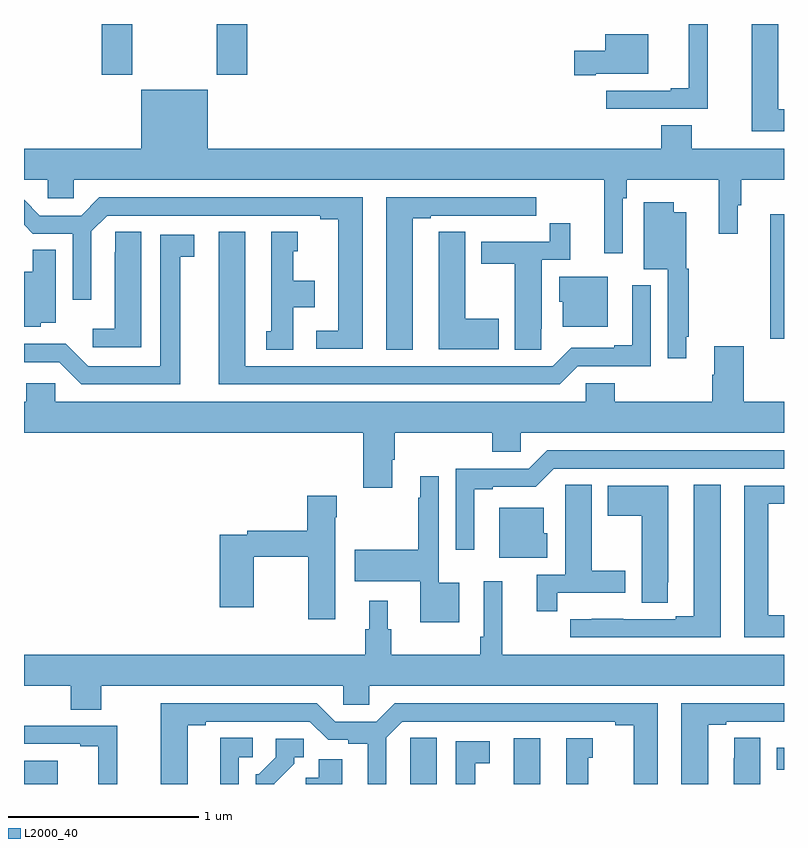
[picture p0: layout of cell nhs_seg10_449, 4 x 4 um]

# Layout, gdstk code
import gdstk
lib = gdstk.Library(unit=1e-6, precision=1e-09)
def R(c, l, rs):  # rectangles x0, y0, x1, y1
    for r in rs: c.add(gdstk.rectangle(r[:2], r[2:], *l))
def P(c, l, *ps):  # polygons
    for p in ps: c.add(gdstk.Polygon(p, *l))
L2000_40 = (2000, 40)

nhs_seg10_449 = lib.new_cell('nhs_seg10_449')
R(nhs_seg10_449, L2000_40, [(133,1266.5,133.177,1266.622), (135.578,1266.5,135.718,1266.742), (136.961,1266.574,137,1266.69), (133.409,1270.233,133.569,1270.5), (134.014,1270.233,134.174,1270.5)])
P(nhs_seg10_449, L2000_40, [(137,1270.052),(136.969,1270.052),(136.969,1270.5),(136.829,1270.5),(136.829,1269.936),(137,1269.936)],
  [(136.599,1270.5),(136.499,1270.5),(136.499,1270.162),(136.403,1270.162),(136.403,1270.149),(136.065,1270.149),(136.065,1270.053),(136.599,1270.053)],
  [(136.009,1270.238),(136.285,1270.238),(136.285,1270.447),(136.058,1270.447),(136.058,1270.36),(135.897,1270.36),(135.897,1270.231),(136.009,1270.231)],
  [(136.152,1269.584),(136.172,1269.584),(136.172,1269.68),(136.657,1269.68),(136.657,1269.396),(136.756,1269.396),(136.756,1269.546),(136.775,1269.546),(136.775,1269.68),(137,1269.68),(137,1269.844),(136.515,1269.844),(136.515,1269.968),(136.355,1269.968),(136.355,1269.844),(133.966,1269.844),(133.966,1270.153),(133.616,1270.153),(133.616,1269.844),(133,1269.844),(133,1269.68),(133.125,1269.68),(133.125,1269.582),(133.263,1269.582),(133.263,1269.68),(136.055,1269.68),(136.055,1269.294),(136.152,1269.294)],
  [(135.046,1269.477),(135.142,1269.477),(135.142,1269.492),(135.418,1269.492),(135.418,1269.491),(135.584,1269.491),(135.584,1269.492),(135.697,1269.492),(135.697,1269.588),(134.906,1269.588),(134.906,1268.785),(135.046,1268.785)],
  [(134.782,1269.588),(133.397,1269.588),(133.301,1269.492),(133.083,1269.492),(133,1269.575),(133,1269.443),(133.047,1269.396),(133.257,1269.396),(133.257,1269.048),(133.353,1269.048),(133.353,1269.408),(133.437,1269.492),(134.558,1269.492),(134.558,1269.472),(134.654,1269.472),(134.654,1268.886),(134.538,1268.886),(134.538,1268.79),(134.782,1268.79)],
  [(136.486,1268.854),(136.498,1268.854),(136.498,1269.213),(136.486,1269.213),(136.486,1269.508),(136.42,1269.508),(136.42,1269.562),(136.262,1269.562),(136.262,1269.209),(136.389,1269.209),(136.389,1268.742),(136.486,1268.742)],
  [(137,1269.499),(136.928,1269.499),(136.928,1269.15),(136.927,1269.15),(136.927,1268.844),(137,1268.844)],
  [(135.723,1268.896),(135.724,1268.896),(135.724,1269.258),(135.875,1269.258),(135.875,1269.451),(135.766,1269.451),(135.766,1269.354),(135.407,1269.354),(135.407,1269.238),(135.584,1269.238),(135.584,1268.785),(135.723,1268.785)],
  [(135.499,1268.949),(135.322,1268.949),(135.322,1269.407),(135.183,1269.407),(135.183,1269.299),(135.182,1269.299),(135.182,1268.789),(135.499,1268.789)],
  [(133.618,1269.407),(133.479,1269.407),(133.479,1269.299),(133.478,1269.299),(133.478,1268.896),(133.362,1268.896),(133.362,1268.799),(133.618,1268.799)],
  [(134.416,1269.008),(134.53,1269.008),(134.53,1269.148),(134.416,1269.148),(134.416,1269.303),(134.44,1269.303),(134.44,1269.406),(134.3,1269.406),(134.3,1268.883),(134.276,1268.883),(134.276,1268.785),(134.416,1268.785)],
  [(135.915,1268.7),(136.299,1268.7),(136.299,1269.124),(136.202,1269.124),(136.202,1268.809),(136.106,1268.809),(136.106,1268.796),(135.879,1268.796),(135.783,1268.7),(134.164,1268.7),(134.164,1269.406),(134.024,1269.406),(134.024,1268.604),(135.819,1268.604)],
  [(133.822,1269.274),(133.897,1269.274),(133.897,1269.39),(133.718,1269.39),(133.718,1268.7),(133.338,1268.7),(133.221,1268.817),(133,1268.817),(133,1268.721),(133.185,1268.721),(133.302,1268.604),(133.822,1268.604)],
  [(133.089,1268.927),(133.168,1268.927),(133.168,1269.311),(133.046,1269.311),(133.046,1269.196),(133,1269.196),(133,1268.906),(133.089,1268.906)],
  [(136.072,1269.169),(135.818,1269.169),(135.818,1269.039),(135.836,1269.039),(135.836,1268.906),(136.072,1268.906)],
  [(134.938,1268.206),(134.951,1268.206),(134.951,1268.348),(135.464,1268.348),(135.464,1268.25),(135.615,1268.25),(135.615,1268.348),(137,1268.348),(137,1268.512),(136.787,1268.512),(136.787,1268.803),(136.634,1268.803),(136.634,1268.654),(136.622,1268.654),(136.622,1268.512),(136.109,1268.512),(136.109,1268.61),(135.957,1268.61),(135.957,1268.512),(133.164,1268.512),(133.164,1268.61),(133.013,1268.61),(133.013,1268.512),(133,1268.512),(133,1268.348),(134.786,1268.348),(134.786,1268.058),(134.938,1268.058)],
  [(135.37,1268.052),(135.466,1268.052),(135.466,1268.064),(135.693,1268.064),(135.789,1268.16),(137,1268.16),(137,1268.256),(135.753,1268.256),(135.657,1268.16),(135.273,1268.16),(135.273,1267.734),(135.37,1267.734)],
  [(135.292,1267.558),(135.183,1267.558),(135.183,1268.119),(135.086,1268.119),(135.086,1268.006),(135.075,1268.006),(135.075,1267.734),(134.742,1267.734),(134.742,1267.568),(135.086,1267.568),(135.086,1267.352),(135.292,1267.352)],
  [(135.806,1267.506),(136.165,1267.506),(136.165,1267.623),(135.988,1267.623),(135.988,1268.075),(135.849,1268.075),(135.849,1267.964),(135.848,1267.964),(135.848,1267.602),(135.698,1267.602),(135.698,1267.41),(135.806,1267.41)],
  [(136.666,1268.075),(136.526,1268.075),(136.526,1267.383),(136.43,1267.383),(136.43,1267.368),(136.154,1267.368),(136.154,1267.369),(135.988,1267.369),(135.988,1267.368),(135.876,1267.368),(135.876,1267.272),(136.666,1267.272)],
  [(136.389,1267.561),(136.39,1267.561),(136.39,1268.071),(136.073,1268.071),(136.073,1267.912),(136.25,1267.912),(136.25,1267.453),(136.389,1267.453)],
  [(137,1267.388),(136.918,1267.388),(136.918,1267.974),(137,1267.974),(137,1268.07),(136.79,1268.07),(136.79,1267.272),(137,1267.272)],
  [(134.638,1267.904),(134.646,1267.904),(134.646,1268.017),(134.492,1268.017),(134.492,1267.832),(134.176,1267.832),(134.176,1267.812),(134.03,1267.812),(134.03,1267.431),(134.208,1267.431),(134.208,1267.696),(134.497,1267.696),(134.497,1267.368),(134.638,1267.368)],
  [(135.754,1267.821),(135.736,1267.821),(135.736,1267.954),(135.5,1267.954),(135.5,1267.691),(135.754,1267.691)],
  [(133.407,1267.016),(134.679,1267.016),(134.679,1266.918),(134.817,1266.918),(134.817,1267.016),(137,1267.016),(137,1267.18),(135.518,1267.18),(135.518,1267.567),(135.42,1267.567),(135.42,1267.276),(135.4,1267.276),(135.4,1267.18),(134.933,1267.18),(134.933,1267.314),(134.914,1267.314),(134.914,1267.465),(134.816,1267.465),(134.816,1267.314),(134.797,1267.314),(134.797,1267.18),(133,1267.18),(133,1267.016),(133.247,1267.016),(133.247,1266.892),(133.407,1266.892)],
  [(136.6,1266.813),(136.696,1266.813),(136.696,1266.828),(136.972,1266.828),(136.972,1266.827),(137,1266.827),(137,1266.924),(136.46,1266.924),(136.46,1266.5),(136.6,1266.5)],
  [(133.861,1266.808),(133.957,1266.808),(133.957,1266.828),(134.505,1266.828),(134.601,1266.732),(134.706,1266.732),(134.706,1266.712),(134.81,1266.712),(134.81,1266.5),(134.907,1266.5),(134.907,1266.744),(134.991,1266.828),(136.112,1266.828),(136.112,1266.808),(136.208,1266.808),(136.208,1266.5),(136.336,1266.5),(136.336,1266.924),(134.951,1266.924),(134.855,1266.828),(134.637,1266.828),(134.541,1266.924),(133.721,1266.924),(133.721,1266.5),(133.861,1266.5)],
  [(133.491,1266.807),(133,1266.807),(133,1266.711),(133.295,1266.711),(133.295,1266.699),(133.391,1266.699),(133.391,1266.5),(133.491,1266.5)],
  [(134.13,1266.642),(134.203,1266.642),(134.203,1266.743),(134.033,1266.743),(134.033,1266.5),(134.13,1266.5)],
  [(136.876,1266.743),(136.737,1266.743),(136.737,1266.635),(136.736,1266.635),(136.736,1266.5),(136.876,1266.5)],
  [(135.172,1266.743),(135.033,1266.743),(135.033,1266.635),(135.032,1266.635),(135.032,1266.5),(135.172,1266.5)],
  [(135.97,1266.639),(135.994,1266.639),(135.994,1266.742),(135.854,1266.742),(135.854,1266.5),(135.97,1266.5)],
  [(134.317,1266.502),(134.422,1266.607),(134.422,1266.642),(134.472,1266.642),(134.472,1266.738),(134.325,1266.738),(134.325,1266.642),(134.235,1266.552),(134.22,1266.552),(134.22,1266.5),(134.317,1266.5)],
  [(135.376,1266.61),(135.451,1266.61),(135.451,1266.726),(135.272,1266.726),(135.272,1266.5),(135.376,1266.5)],
  [(134.674,1266.63),(134.552,1266.63),(134.552,1266.532),(134.483,1266.532),(134.483,1266.5),(134.674,1266.5)])

lib.write_gds('nhs_seg10_449.gds')
